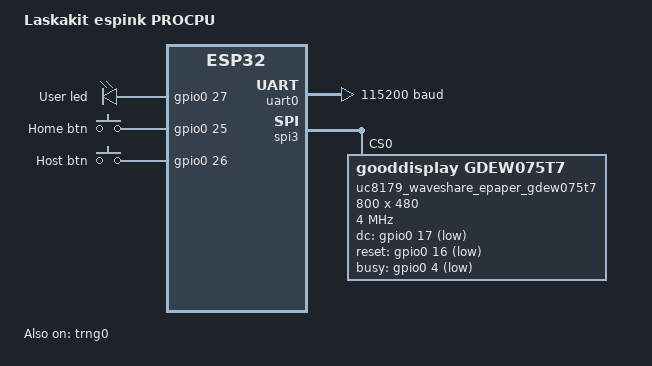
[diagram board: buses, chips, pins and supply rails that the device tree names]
/*
 * Copyright (c) 2023 Espressif Systems (Shanghai) Co., Ltd.
 *
 * SPDX-License-Identifier: Apache-2.0
 */
/dts-v1/;

#include <espressif/esp32/esp32_wroom_32ue_n16.dtsi>
#include "espink-pinctrl.dtsi"
#include <zephyr/dt-bindings/input/input-event-codes.h>

/ {
	model = "Laskakit espink PROCPU";
	compatible = "laskakit,espink";

	aliases {
		uart-0 = &uart0;
		i2c-0 = &i2c0;
		sw0 = &button_home;
		watchdog0 = &wdt0;
		led0 = &green_led;
	};

	leds {
		compatible = "gpio-leds";
		green_led: led_1 {
			gpios = <&gpio0 27 GPIO_ACTIVE_HIGH>;
			label = "User led";
		};
	};

	buttons: buttons {
		compatible = "gpio-keys";
		button_home: button_home {
			gpios = <&gpio0 25 (GPIO_PULL_DOWN | GPIO_ACTIVE_HIGH)>;
			label = "Home btn";
			zephyr,code = <INPUT_KEY_0>;
		};

		button_host: button_host {
			gpios = <&gpio0 26 (GPIO_PULL_DOWN | GPIO_ACTIVE_HIGH)>;
			label = "Host btn";
			zephyr,code = <INPUT_KEY_1>;
		};
	};

	chosen {
		zephyr,sram = &sram0;
		zephyr,console = &uart0;
		zephyr,shell-uart = &uart0;
		zephyr,flash = &flash0;
		zephyr,code-partition = &slot0_partition;
		#if 0
		zephyr,display = &uc8179_waveshare_epaper_gdew075t7;
		#endif
	};
};

&uart0 {
	status = "okay";
	current-speed = <115200>;
	pinctrl-0 = <&uart0_default>;
	pinctrl-names = "default";
};

&uart1 {
	current-speed = <115200>;
	pinctrl-0 = <&uart1_default>;
	pinctrl-names = "default";
	status = "disabled";
};

&uart2 {
	current-speed = <115200>;
	pinctrl-0 = <&uart2_default>;
	pinctrl-names = "default";
	status = "disabled";
};

&gpio0 {
	status = "okay";
};

&gpio1 {
	status = "okay";
};

&i2c0 {
	status = "disabled";
	clock-frequency = <I2C_BITRATE_STANDARD>;
	sda-gpios = <&gpio0 21 GPIO_OPEN_DRAIN>;
	scl-gpios = <&gpio0 22 GPIO_OPEN_DRAIN>;
	pinctrl-0 = <&i2c0_default>;
	pinctrl-names = "default";
};

&spi2 {
	#address-cells = <1>;
	#size-cells = <0>;
	status = "disabled";
	pinctrl-0 = <&spim2_default>;
	pinctrl-names = "default";
};

&spi3 {
	#address-cells = <1>;
	#size-cells = <0>;
	status = "okay";
	pinctrl-0 = <&spim3_default>;
	pinctrl-names = "default";
#if 1
	uc8179_waveshare_epaper_gdew075t7: uc8179@0 {
		compatible = "gooddisplay,gdew075t7", "ultrachip,uc8179";
		spi-max-frequency = <4000000>;
		reg = <0>;
		width = <800>;
		height = <480>;
		/*enable-gpios = <&gpio0 2 GPIO_ACTIVE_HIGH>;*/
		dc-gpios = <&gpio0 17 GPIO_ACTIVE_LOW>;		/* D9 */
		reset-gpios = <&gpio0 16 GPIO_ACTIVE_LOW>;	/* D8 */
		busy-gpios = <&gpio0 4 GPIO_ACTIVE_LOW>;	/* D7 */

		softstart = [17 17 28 17];

		full {
			pwr = [07 07 3f 3f 03];
			cdi = <07>;
			tcon = <22>;
		};

		partial {
			pwr = [07 07 3f 3f 03];
			cdi = <07>;
			pll = <06>;
			tcon = <22>;
			vdcs = <00>;
#if 0
			lutc = [
				00 0A 00 00 00 01
				60 14 14 00 00 01
				00 14 00 00 00 01
				00 13 0A 01 00 01
				00 00 00 00 00 00
				00 00 00 00 00 00
				00 00 00 00 00 00
			];

			lutww = [
				40 0A 00 00 00 01
				90 14 14 00 00 01
				10 14 0A 00 00 01
				A0 13 01 00 00 01
				00 00 00 00 00 00
				00 00 00 00 00 00
				00 00 00 00 00 00
			];

			lutkw = [
				40 0A 00 00 00 01
				90 14 14 00 00 01
				00 14 0A 00 00 01
				99 0C 01 03 04 01
				00 00 00 00 00 00
				00 00 00 00 00 00
				00 00 00 00 00 00
			];

			lutwk = [
				40 0A 00 00 00 01
				90 14 14 00 00 01
				00 14 0A 00 00 01
				99 0B 04 04 01 01
				00 00 00 00 00 00
				00 00 00 00 00 00
				00 00 00 00 00 00
			];

			lutkk = [
				80 0A 00 00 00 01
				90 14 14 00 00 01
				20 14 0A 00 00 01
				50 13 01 00 00 01
				00 00 00 00 00 00
				00 00 00 00 00 00
				00 00 00 00 00 00
			];
#endif
		};
	};
#endif
};

&timer0 {
	status = "disabled";
};

&timer1 {
	status = "disabled";
};

&timer2 {
	status = "disabled";
};

&timer3 {
	status = "disabled";
};

&trng0 {
	status = "okay";
};

&psram0 {
	status = "disabled";
};

&flash0 {
	status = "okay";
	partitions {
		compatible = "fixed-partitions";
		#address-cells = <1>;
		#size-cells = <1>;

		/* Reserve 60kB for the bootloader */
		boot_partition: partition@1000 {
			label = "mcuboot";
			reg = <0x00001000 0x0000F000>;
			read-only;
		};

		/* Reserve 1024kB for the application in slot 0 */
		slot0_partition: partition@10000 {
			label = "image-0";
			reg = <0x00010000 0x00100000>;
		};

		/* Reserve 1024kB for the application in slot 1 */
		slot1_partition: partition@110000 {
			label = "image-1";
			reg = <0x00110000 0x00100000>;
		};

		/* Reserve 256kB for the scratch partition */
		scratch_partition: partition@210000 {
			   label = "image-scratch";
			   reg = <0x00210000 0x00040000>;
		};

		storage_partition: partition@250000 {
			label = "storage";
			reg = <0x00250000 0x00006000>;
		};
	};
};
